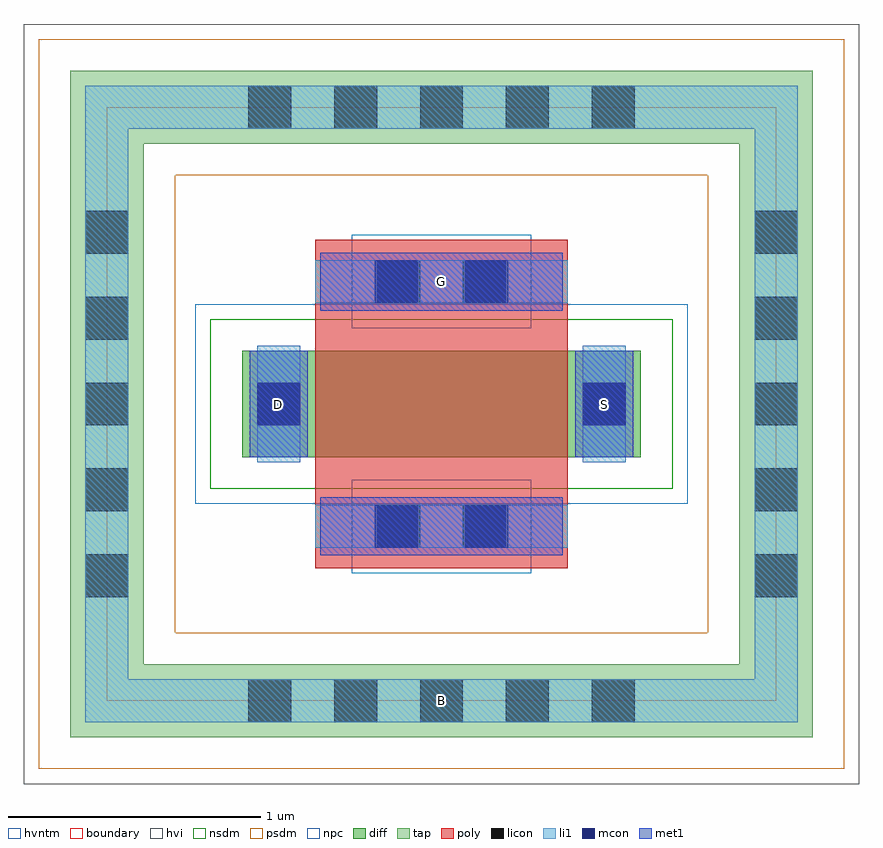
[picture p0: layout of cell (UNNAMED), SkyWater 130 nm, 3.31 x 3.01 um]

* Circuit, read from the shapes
.subckt (UNNAMED) B D G S
XM1 S G D B sky130_fd_pr__nfet_g5v0d10v5 w=0.42 l=1
.ends

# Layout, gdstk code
import gdstk
lib = gdstk.Library(unit=1e-6, precision=1e-09)
def R(c, l, rs):  # rectangles x0, y0, x1, y1
    for r in rs: c.add(gdstk.rectangle(r[:2], r[2:], *l))
def A(c, l, x, y, w, h, nx, ny, dx, dy):  # array of equal rectangles
    R(c, l, [(x+i*dx, y+j*dy, x+i*dx+w, y+j*dy+h) for i in range(nx) for j in range(ny)])
diff = (65, 20)
tap = (65, 44)
poly = (66, 20)
licon = (66, 44)
li1 = (67, 20)
mcon = (67, 44)
met1 = (68, 20)
hvi = (75, 20)
nsdm = (93, 44)
psdm = (94, 20)
npc = (95, 20)
hvntm = (125, 20)
boundary = (235, 4)

c__unnamed_ = lib.new_cell('(UNNAMED)')
R(c__unnamed_, diff, [(-0.79,-0.21,0.79,0.21)])
R(c__unnamed_, tap, [(-1.47,-1.32,1.47,-1.03), (-1.47,-1.03,-1.18,1.03), (1.18,-1.03,1.47,1.03), (-1.47,1.03,1.47,1.32)])
R(c__unnamed_, poly, [(-0.5,-0.65,0.5,0.65)])
A(c__unnamed_, licon, -0.765, -1.26, 0.17, 0.17, 5, 2, 0.34, 2.35)
A(c__unnamed_, licon, -1.41, -0.765, 0.17, 0.17, 1, 5, 0, 0.34)
A(c__unnamed_, licon, 1.24, -0.765, 0.17, 0.17, 1, 5, 0, 0.34)
R(c__unnamed_, licon, [(-0.255,-0.57,-0.085,-0.4), (0.085,-0.57,0.255,-0.4), (-0.73,-0.085,-0.56,0.085), (0.56,-0.085,0.73,0.085), (-0.255,0.4,-0.085,0.57), (0.085,0.4,0.255,0.57)])
R(c__unnamed_, li1, [(-1.41,-1.26,1.41,-1.09), (-1.41,-1.09,-1.24,1.09), (1.24,-1.09,1.41,1.09), (-0.5,-0.57,0.5,-0.4), (-0.73,-0.23,-0.56,0.23), (0.56,-0.23,0.73,0.23), (-0.5,0.4,0.5,0.57), (-1.41,1.09,1.41,1.26)])
R(c__unnamed_, mcon, [(-0.265,-0.57,-0.095,-0.4), (0.095,-0.57,0.265,-0.4), (-0.73,-0.085,-0.56,0.085), (0.56,-0.085,0.73,0.085), (-0.265,0.4,-0.095,0.57), (0.095,0.4,0.265,0.57)])
R(c__unnamed_, met1, [(-0.48,-0.6,0.48,-0.37), (-0.76,-0.21,-0.53,0.21), (0.53,-0.21,0.76,0.21), (-0.48,0.37,0.48,0.6)])
R(c__unnamed_, hvi, [(-1.655,-1.505,1.655,1.505)])
R(c__unnamed_, nsdm, [(-0.915,-0.335,0.915,0.335)])
R(c__unnamed_, psdm, [(-1.595,-1.445,1.595,-0.905), (-1.595,-0.905,-1.055,0.905), (1.055,-0.905,1.595,0.905), (-1.595,0.905,1.595,1.445)])
R(c__unnamed_, npc, [(-0.355,-0.67,0.355,-0.3), (-0.355,0.3,0.355,0.67)])
R(c__unnamed_, hvntm, [(-0.975,-0.395,0.975,0.395)])
R(c__unnamed_, boundary, [(-1.325,-1.175,1.325,1.175)])
c__unnamed_.add(gdstk.Label('B', (0,-1.175), layer=67, texttype=5))
c__unnamed_.add(gdstk.Label('D', (-0.645,0), layer=67, texttype=5))
c__unnamed_.add(gdstk.Label('S', (0.645,0), layer=67, texttype=5))
c__unnamed_.add(gdstk.Label('G', (0,0.485), layer=67, texttype=5))

lib.write_gds('_UNNAMED_.gds')
